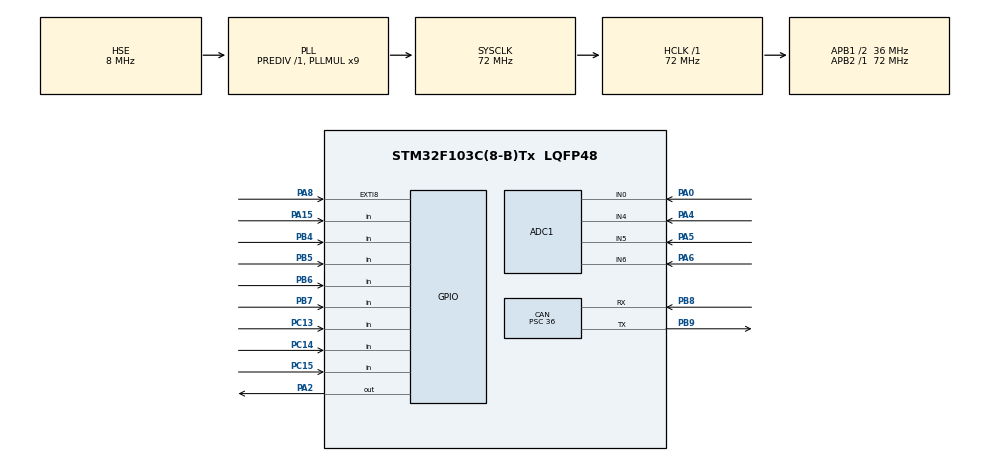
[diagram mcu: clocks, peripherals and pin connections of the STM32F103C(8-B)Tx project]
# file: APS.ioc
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ADC1.Channel-10\#ChannelRegularConversion=ADC_CHANNEL_4
ADC1.Channel-11\#ChannelRegularConversion=ADC_CHANNEL_5
ADC1.Channel-12\#ChannelRegularConversion=ADC_CHANNEL_6
ADC1.Channel-9\#ChannelRegularConversion=ADC_CHANNEL_0
ADC1.ContinuousConvMode=ENABLE
ADC1.DataAlign=ADC_DATAALIGN_RIGHT
ADC1.DiscontinuousConvMode=DISABLE
ADC1.EnableAnalogWatchDog=false
ADC1.EnableRegularConversion=ENABLE
ADC1.InjNumberOfConversion=0
ADC1.NbrOfConversion=4
ADC1.NbrOfConversionFlag=1
ADC1.Rank-10\#ChannelRegularConversion=2
ADC1.Rank-11\#ChannelRegularConversion=3
ADC1.Rank-12\#ChannelRegularConversion=4
ADC1.Rank-9\#ChannelRegularConversion=1
ADC1.SamplingTime-10\#ChannelRegularConversion=ADC_SAMPLETIME_1CYCLE_5
ADC1.SamplingTime-11\#ChannelRegularConversion=ADC_SAMPLETIME_1CYCLE_5
ADC1.SamplingTime-12\#ChannelRegularConversion=ADC_SAMPLETIME_1CYCLE_5
ADC1.SamplingTime-9\#ChannelRegularConversion=ADC_SAMPLETIME_1CYCLE_5
ADC1.ScanConvMode=ADC_SCAN_ENABLE
ADC1.master=1
CAN.BS1=CAN_BS1_13TQ
CAN.BS2=CAN_BS2_2TQ
CAN.CalculateTimeBit=16000
CAN.CalculateTimeQuantum=1000.0
CAN.Mode=CAN_MODE_NORMAL
CAN.NART=ENABLE
CAN.Prescaler=36
CAN.TXFP=ENABLE
Dma.ADC1.0.Direction=DMA_PERIPH_TO_MEMORY
Dma.ADC1.0.Instance=DMA1_Channel1
Dma.ADC1.0.MemDataAlignment=DMA_MDATAALIGN_HALFWORD
Dma.ADC1.0.MemInc=DMA_MINC_ENABLE
Dma.ADC1.0.Mode=DMA_CIRCULAR
Dma.ADC1.0.PeriphDataAlignment=DMA_PDATAALIGN_HALFWORD
Dma.ADC1.0.PeriphInc=DMA_PINC_DISABLE
Dma.ADC1.0.Priority=DMA_PRIORITY_LOW
Dma.Request0=ADC1
Mcu.Family=STM32F1
Mcu.Name=STM32F103C(8-B)Tx
Mcu.Package=LQFP48
NVIC.DMA1_Channel1_IRQn=true\:0\:0\:false\:false\:true\:false
NVIC.EXTI9_5_IRQn=true\:3\:0\:true\:false\:true\:true
NVIC.PriorityGroup=NVIC_PRIORITYGROUP_4
NVIC.TIM2_IRQn=true\:3\:0\:true\:false\:true\:true
NVIC.TIM3_IRQn=true\:1\:0\:true\:false\:true\:true
NVIC.USB_LP_CAN1_RX0_IRQn=true\:2\:0\:true\:false\:true\:true
PA0-WKUP.Signal=ADCx_IN0
PA13.Mode=Serial_Wire
PA13.Signal=SYS_JTMS-SWDIO
PA14.Mode=Serial_Wire
PA14.Signal=SYS_JTCK-SWCLK
PA15.GPIO_PuPd=GPIO_PULLDOWN
PA15.Signal=GPIO_Input
PA2.GPIO_Speed=GPIO_SPEED_FREQ_LOW
PA2.Signal=GPIO_Output
PA4.Signal=ADCx_IN4
PA5.Signal=ADCx_IN5
PA6.Signal=ADCx_IN6
PA8.GPIO_ModeDefaultEXTI=GPIO_MODE_IT_RISING_FALLING
PA8.Signal=GPXTI8
PB4.GPIO_PuPd=GPIO_PULLDOWN
PB4.Signal=GPIO_Input
PB5.GPIO_PuPd=GPIO_PULLDOWN
PB5.Signal=GPIO_Input
PB6.GPIO_PuPd=GPIO_PULLDOWN
PB6.Signal=GPIO_Input
PB7.GPIO_PuPd=GPIO_PULLDOWN
PB7.Signal=GPIO_Input
PB8.Mode=Master
PB8.Signal=CAN_RX
PB9.Mode=Master
PB9.Signal=CAN_TX
PC13-TAMPER-RTC.GPIO_PuPd=GPIO_PULLDOWN
PC13-TAMPER-RTC.Signal=GPIO_Input
PC14-OSC32_IN.GPIO_PuPd=GPIO_PULLDOWN
PC14-OSC32_IN.Signal=GPIO_Input
PC15-OSC32_OUT.GPIO_PuPd=GPIO_PULLDOWN
PC15-OSC32_OUT.Signal=GPIO_Input
PD0-OSC_IN.Mode=HSE-External-Oscillator
PD0-OSC_IN.Signal=RCC_OSC_IN
PD1-OSC_OUT.Mode=HSE-External-Oscillator
PD1-OSC_OUT.Signal=RCC_OSC_OUT
ProjectManager.HeapSize=0x200
ProjectManager.StackSize=0x400
ProjectManager.TargetToolchain=SW4STM32
RCC.ADCPresc=RCC_ADCPCLK2_DIV6
RCC.AHBFreq_Value=72000000
RCC.APB1CLKDivider=RCC_HCLK_DIV2
RCC.APB1Freq_Value=36000000
RCC.APB1TimFreq_Value=72000000
RCC.APB2Freq_Value=72000000
RCC.APB2TimFreq_Value=72000000
RCC.HCLKFreq_Value=72000000
RCC.PLLMUL=RCC_PLL_MUL9
RCC.PLLSourceVirtual=RCC_PLLSOURCE_HSE
RCC.SYSCLKFreq_VALUE=72000000
RCC.SYSCLKSource=RCC_SYSCLKSOURCE_PLLCLK
RCC.USBFreq_Value=72000000
SH.ADCx_IN0.0=ADC1_IN0,IN0
SH.ADCx_IN4.0=ADC1_IN4,IN4
SH.ADCx_IN5.0=ADC1_IN5,IN5
SH.ADCx_IN6.0=ADC1_IN6,IN6
TIM2.Period=50000
TIM2.Prescaler=71
TIM2.TIM_MasterOutputTrigger=TIM_TRGO_UPDATE
TIM3.Period=999
TIM3.Prescaler=71
TIM3.TIM_MasterOutputTrigger=TIM_TRGO_UPDATE
VP_TIM2_VS_ClockSourceINT.Mode=Internal
VP_TIM3_VS_ClockSourceINT.Mode=Internal
board=AZS

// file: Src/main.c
/**
  ******************************************************************************
  * @file           : main.c
  * @brief          : Main program body
  ******************************************************************************
  ** This notice applies to any and all portions of this file
  * that are not between comment pairs USER CODE BEGIN and
  * USER CODE END. Other portions of this file, whether
  * inserted by the user or by software development tools
  * are owned by their respective copyright owners.
  *
  * COPYRIGHT(c) 2018 STMicroelectronics
  *
  * Redistribution and use in source and binary forms, with or without modification,
  * are permitted provided that the following conditions are met:
  *   1. Redistributions of source code must retain the above copyright notice,
  *      this list of conditions and the following disclaimer.
  *   2. Redistributions in binary form must reproduce the above copyright notice,
  *      this list of conditions and the following disclaimer in the documentation
  *      and/or other materials provided with the distribution.
  *   3. Neither the name of STMicroelectronics nor the names of its contributors
  *      may be used to endorse or promote products derived from this software
  *      without specific prior written permission.
  *
  * THIS SOFTWARE IS PROVIDED BY THE COPYRIGHT HOLDERS AND CONTRIBUTORS "AS IS"
  * AND ANY EXPRESS OR IMPLIED WARRANTIES, INCLUDING, BUT NOT LIMITED TO, THE
  * IMPLIED WARRANTIES OF MERCHANTABILITY AND FITNESS FOR A PARTICULAR PURPOSE ARE
  * DISCLAIMED. IN NO EVENT SHALL THE COPYRIGHT HOLDER OR CONTRIBUTORS BE LIABLE
  * FOR ANY DIRECT, INDIRECT, INCIDENTAL, SPECIAL, EXEMPLARY, OR CONSEQUENTIAL
  * DAMAGES (INCLUDING, BUT NOT LIMITED TO, PROCUREMENT OF SUBSTITUTE GOODS OR
  * SERVICES; LOSS OF USE, DATA, OR PROFITS; OR BUSINESS INTERRUPTION) HOWEVER
  * CAUSED AND ON ANY THEORY OF LIABILITY, WHETHER IN CONTRACT, STRICT LIABILITY,
  * OR TORT (INCLUDING NEGLIGENCE OR OTHERWISE) ARISING IN ANY WAY OUT OF THE USE
  * OF THIS SOFTWARE, EVEN IF ADVISED OF THE POSSIBILITY OF SUCH DAMAGE.
  *
  ******************************************************************************
  */
#include "main.h"
#include "stm32f1xx_hal.h"

/* USER CODE BEGIN Includes */
#include "filter.h"

/* USER CODE END Includes */

ADC_HandleTypeDef hadc1;
DMA_HandleTypeDef hdma_adc1;

CAN_HandleTypeDef hcan;

TIM_HandleTypeDef htim2;
TIM_HandleTypeDef htim3;

/* USER CODE BEGIN PV */
/* Private variables ---------------------------------------------------------*/
#define 			DEVICE_ID_DEF				0x0001
#define 			REMOTE_DEVICE_ID_DEF		0x0100
#define 			CAN_TIME_TX_DATA			1000							// ms
#define 			ADC_NUM_QUANT				4096
#define				ADC_REF_V					3.3								// Volt
#define				ADC_IN_R1					100000.0						// Ohm
#define				ADC_IN_R2					10000.0							// Ohm
#define				ADC_OUT_R1					100000.0						// Ohm
#define				ADC_OUT_R2					10000.0							// Ohm
#define				LIM_IN_V_DOWN_DEF			9.0								// Volt
#define				LIM_IN_V_UP_DEF				18.0							// Volt
#define				LIM_OUT_V_DOWN_DEF			9.0								// Volt
#define				LIM_OUT_V_UP_DEF			18.0							// Volt
#define				SENS_I_VCC					3.3								// Volt
#define				SENS_I_SLOPE				26.4e-3							// Volt per 1 Ampere
#define				SENS_I_LIM_DEF				1.0								// Ampere
#define				SENS_I_MAX_CURRENT			50.0							// Ampere, see datasheet
#define				SENS_TEMP_SLOPE				6.25e-3							// Volt per 1 degree
#define				SWITCH_QUANT				0.25							// Ampere

#define				ADC_IN_PRESCALER			(float)ADC_IN_R2 / (float)(ADC_IN_R1 + ADC_IN_R2)
#define				ADC_OUT_PRESCALER			(float)ADC_OUT_R2 / (float)(ADC_OUT_R1 + ADC_OUT_R2)
#define 			SENS_I_LIM_DEF_A			((float)SENS_I_LIM_DEF * (float)SENS_I_SLOPE)	// Ampere
#define				SENS_I_MAX_CURRENT_A		((float)SENS_I_MAX_CURRENT * (float)SENS_I_SLOPE)	// Ampere
#define				SENS_I_VOUT_Q				(float)SENS_I_VCC / 2.0
#define 			GATE_ENABLE					1
#define 			GATE_DISABLE				0
#define				ADC_SAMPLE_RATE				10000

uint32_t 			Device_ID = 				DEVICE_ID_DEF;					// Set device ID  (CAN bus)
uint32_t 			Remote_device_ID =			REMOTE_DEVICE_ID_DEF;			// Set remote device ID (CAN bus)
uint8_t				Gate_state =				GATE_DISABLE;
float 				Lim_in_V_down =				((float)ADC_IN_PRESCALER * (float)LIM_IN_V_DOWN_DEF);
float				Lim_in_V_up =				((float)ADC_IN_PRESCALER * (float)LIM_IN_V_UP_DEF);
float				Lim_out_V_down =			((float)ADC_OUT_PRESCALER * (float)LIM_OUT_V_DOWN_DEF);
float				Lim_out_V_up =				((float)ADC_OUT_PRESCALER * (float)LIM_OUT_V_UP_DEF);
float				Lim_I_up =					SENS_I_VOUT_Q + SENS_I_LIM_DEF_A;		// Forward current limit
float				Lim_I_down =				SENS_I_VOUT_Q - SENS_I_LIM_DEF_A;		// Backward current limit
CanTxMsgTypeDef 	CAN_Tx_Buffer;
CanRxMsgTypeDef 	CAN_Rx_Buffer;
uint16_t 			ADC_Data[4];
float	 			ADC_Data_f[4];

/* USER CODE END PV */

void SystemClock_Config(void);
static void MX_GPIO_Init(void);
static void MX_DMA_Init(void);
static void MX_CAN_Init(void);
static void MX_ADC1_Init(void);
static void MX_TIM2_Init(void);
static void MX_TIM3_Init(void);

/* USER CODE BEGIN PFP */
/* Private function prototypes -----------------------------------------------*/
void CAN_filter_set(void);
void CAN_ADCdata_send(uint16_t *ADC_array, uint8_t array_size);
void Gate_set(uint8_t state);
void Gate_toggle(void);
void HAL_GPIO_EXTI_Callback(uint16_t GPIO_Pin);
uint8_t Switch_read(void);
//void HAL_ADCEx_InjectedConvCpltCallback(ADC_HandleTypeDef* hadc1);
void HAL_CAN_RxCpltCallback(CAN_HandleTypeDef* CanHandle);
void Set_current_lim(void);
void ADC_check(uint16_t *ADC_Data, float *ADC_Data_f);
void Sample_rate_set(uint16_t sample_rate);
void CAN_ADCdata_send_f(float *ADC_array_f, uint8_t array_size);

/* USER CODE END PFP */

int main(void)
{

  /* MCU Configuration----------------------------------------------------------*/

  /* Reset of all peripherals, Initializes the Flash interface and the Systick. */
  HAL_Init();

  /* Configure the system clock */
  SystemClock_Config();

  /* Initialize all configured peripherals */
  MX_GPIO_Init();
  MX_DMA_Init();
  MX_CAN_Init();
  MX_ADC1_Init();
  MX_TIM2_Init();
  MX_TIM3_Init();
  /* USER CODE BEGIN 2 */

	Sample_rate_set(ADC_SAMPLE_RATE);

  Set_current_lim();
  CAN_filter_set();
  hcan.pRxMsg = &CAN_Rx_Buffer;
  HAL_CAN_Receive_IT(&hcan, CAN_FIFO0);
	HAL_NVIC_DisableIRQ(DMA1_Channel1_IRQn);
  HAL_ADC_Start_DMA(&hadc1,(uint32_t*) &ADC_Data, 4);
  HAL_TIM_Base_Start_IT(&htim3);

	//Gate_set(GATE_ENABLE);
  //HAL_ADCEx_InjectedStart_IT(&hadc1);
  /* USER CODE END 2 */

  /* Infinite loop */
  while (1)
  {

  /* USER CODE BEGIN 3 */
	  //if (ADC_conversion_status == ADC_CONVERSION_COMPLETE)
	  //{
		  CAN_ADCdata_send_f(ADC_Data_f, sizeof(ADC_Data)/sizeof(uint16_t));
		  //ADC_conversion_status = ADC_CONVERSION_EXPECT;
	  //}
	  HAL_Delay(CAN_TIME_TX_DATA);
		//Gate_set(GATE_ENABLE);
		//HAL_GPIO_TogglePin(GPIOB, GPIO_PIN_1);
		//HAL_Delay(10);
  }
  /* USER CODE END 3 */

}

void SystemClock_Config(void)
{

  RCC_OscInitTypeDef RCC_OscInitStruct;
  RCC_ClkInitTypeDef RCC_ClkInitStruct;
  RCC_PeriphCLKInitTypeDef PeriphClkInit;

    /**Initializes the CPU, AHB and APB busses clocks
    */
  RCC_OscInitStruct.OscillatorType = RCC_OSCILLATORTYPE_HSE;
  RCC_OscInitStruct.HSEState = RCC_HSE_ON;
  RCC_OscInitStruct.HSEPredivValue = RCC_HSE_PREDIV_DIV1;
  RCC_OscInitStruct.HSIState = RCC_HSI_ON;
  RCC_OscInitStruct.PLL.PLLState = RCC_PLL_ON;
  RCC_OscInitStruct.PLL.PLLSource = RCC_PLLSOURCE_HSE;
  RCC_OscInitStruct.PLL.PLLMUL = RCC_PLL_MUL9;
  if (HAL_RCC_OscConfig(&RCC_OscInitStruct) != HAL_OK)
  {
    _Error_Handler(__FILE__, __LINE__);
  }

    /**Initializes the CPU, AHB and APB busses clocks
    */
  RCC_ClkInitStruct.ClockType = RCC_CLOCKTYPE_HCLK|RCC_CLOCKTYPE_SYSCLK
                              |RCC_CLOCKTYPE_PCLK1|RCC_CLOCKTYPE_PCLK2;
  RCC_ClkInitStruct.SYSCLKSource = RCC_SYSCLKSOURCE_PLLCLK;
  RCC_ClkInitStruct.AHBCLKDivider = RCC_SYSCLK_DIV1;
  RCC_ClkInitStruct.APB1CLKDivider = RCC_HCLK_DIV2;
  RCC_ClkInitStruct.APB2CLKDivider = RCC_HCLK_DIV1;

  if (HAL_RCC_ClockConfig(&RCC_ClkInitStruct, FLASH_LATENCY_2) != HAL_OK)
  {
    _Error_Handler(__FILE__, __LINE__);
  }

  PeriphClkInit.PeriphClockSelection = RCC_PERIPHCLK_ADC;
  PeriphClkInit.AdcClockSelection = RCC_ADCPCLK2_DIV6;
  if (HAL_RCCEx_PeriphCLKConfig(&PeriphClkInit) != HAL_OK)
  {
    _Error_Handler(__FILE__, __LINE__);
  }

    /**Configure the Systick interrupt time
    */
  HAL_SYSTICK_Config(HAL_RCC_GetHCLKFreq()/1000);

    /**Configure the Systick
    */
  HAL_SYSTICK_CLKSourceConfig(SYSTICK_CLKSOURCE_HCLK);

  /* SysTick_IRQn interrupt configuration */
  HAL_NVIC_SetPriority(SysTick_IRQn, 0, 0);
}

/* ADC1 init function */
static void MX_ADC1_Init(void)
{

  ADC_ChannelConfTypeDef sConfig;

    /**Common config
    */
  hadc1.Instance = ADC1;
  hadc1.Init.ScanConvMode = ADC_SCAN_ENABLE;
  hadc1.Init.ContinuousConvMode = ENABLE;
  hadc1.Init.DiscontinuousConvMode = DISABLE;
  hadc1.Init.ExternalTrigConv = ADC_SOFTWARE_START;
  hadc1.Init.DataAlign = ADC_DATAALIGN_RIGHT;
  hadc1.Init.NbrOfConversion = 4;
  if (HAL_ADC_Init(&hadc1) != HAL_OK)
  {
    _Error_Handler(__FILE__, __LINE__);
  }

    /**Configure Regular Channel
    */
  sConfig.Channel = ADC_CHANNEL_0;
  sConfig.Rank = ADC_REGULAR_RANK_1;
  sConfig.SamplingTime = ADC_SAMPLETIME_1CYCLE_5;
  if (HAL_ADC_ConfigChannel(&hadc1, &sConfig) != HAL_OK)
  {
    _Error_Handler(__FILE__, __LINE__);
  }

    /**Configure Regular Channel
    */
  sConfig.Channel = ADC_CHANNEL_4;
  sConfig.Rank = ADC_REGULAR_RANK_2;
  if (HAL_ADC_ConfigChannel(&hadc1, &sConfig) != HAL_OK)
  {
    _Error_Handler(__FILE__, __LINE__);
  }

    /**Configure Regular Channel
    */
  sConfig.Channel = ADC_CHANNEL_5;
  sConfig.Rank = ADC_REGULAR_RANK_3;
  if (HAL_ADC_ConfigChannel(&hadc1, &sConfig) != HAL_OK)
  {
    _Error_Handler(__FILE__, __LINE__);
  }

    /**Configure Regular Channel
    */
  sConfig.Channel = ADC_CHANNEL_6;
  sConfig.Rank = ADC_REGULAR_RANK_4;
  if (HAL_ADC_ConfigChannel(&hadc1, &sConfig) != HAL_OK)
  {
    _Error_Handler(__FILE__, __LINE__);
  }

}

/* CAN init function */
static void MX_CAN_Init(void)
{

  hcan.Instance = CAN1;
  hcan.Init.Prescaler = 36;
  hcan.Init.Mode = CAN_MODE_NORMAL;
  hcan.Init.SJW = CAN_SJW_1TQ;
  hcan.Init.BS1 = CAN_BS1_13TQ;
  hcan.Init.BS2 = CAN_BS2_2TQ;
  hcan.Init.TTCM = DISABLE;
  hcan.Init.ABOM = DISABLE;
  hcan.Init.AWUM = DISABLE;
  hcan.Init.NART = ENABLE;
  hcan.Init.RFLM = DISABLE;
  hcan.Init.TXFP = ENABLE;
  if (HAL_CAN_Init(&hcan) != HAL_OK)
  {
    _Error_Handler(__FILE__, __LINE__);
  }

}

/* TIM2 init function */
static void MX_TIM2_Init(void)
{

  TIM_ClockConfigTypeDef sClockSourceConfig;
  TIM_MasterConfigTypeDef sMasterConfig;

  htim2.Instance = TIM2;
  htim2.Init.Prescaler = 71;
  htim2.Init.CounterMode = TIM_COUNTERMODE_UP;
  htim2.Init.Period = 50000;
  htim2.Init.ClockDivision = TIM_CLOCKDIVISION_DIV1;
  htim2.Init.AutoReloadPreload = TIM_AUTORELOAD_PRELOAD_DISABLE;
  if (HAL_TIM_Base_Init(&htim2) != HAL_OK)
  {
    _Error_Handler(__FILE__, __LINE__);
  }

  sClockSourceConfig.ClockSource = TIM_CLOCKSOURCE_INTERNAL;
  if (HAL_TIM_ConfigClockSource(&htim2, &sClockSourceConfig) != HAL_OK)
  {
    _Error_Handler(__FILE__, __LINE__);
  }

  sMasterConfig.MasterOutputTrigger = TIM_TRGO_UPDATE;
  sMasterConfig.MasterSlaveMode = TIM_MASTERSLAVEMODE_DISABLE;
  if (HAL_TIMEx_MasterConfigSynchronization(&htim2, &sMasterConfig) != HAL_OK)
  {
    _Error_Handler(__FILE__, __LINE__);
  }

}

/* TIM3 init function */
static void MX_TIM3_Init(void)
{

  TIM_ClockConfigTypeDef sClockSourceConfig;
  TIM_MasterConfigTypeDef sMasterConfig;

  htim3.Instance = TIM3;
  htim3.Init.Prescaler = 71;
  htim3.Init.CounterMode = TIM_COUNTERMODE_UP;
  htim3.Init.Period = 999;
  htim3.Init.ClockDivision = TIM_CLOCKDIVISION_DIV1;
  htim3.Init.AutoReloadPreload = TIM_AUTORELOAD_PRELOAD_DISABLE;
  if (HAL_TIM_Base_Init(&htim3) != HAL_OK)
  {
    _Error_Handler(__FILE__, __LINE__);
  }

  sClockSourceConfig.ClockSource = TIM_CLOCKSOURCE_INTERNAL;
  if (HAL_TIM_ConfigClockSource(&htim3, &sClockSourceConfig) != HAL_OK)
  {
    _Error_Handler(__FILE__, __LINE__);
  }

  sMasterConfig.MasterOutputTrigger = TIM_TRGO_UPDATE;
  sMasterConfig.MasterSlaveMode = TIM_MASTERSLAVEMODE_DISABLE;
  if (HAL_TIMEx_MasterConfigSynchronization(&htim3, &sMasterConfig) != HAL_OK)
  {
    _Error_Handler(__FILE__, __LINE__);
  }

}

static void MX_DMA_Init(void)
{
  /* DMA controller clock enable */
  __HAL_RCC_DMA1_CLK_ENABLE();

  /* DMA interrupt init */
  /* DMA1_Channel1_IRQn interrupt configuration */
  HAL_NVIC_SetPriority(DMA1_Channel1_IRQn, 0, 0);
  HAL_NVIC_EnableIRQ(DMA1_Channel1_IRQn);

}

/** Configure pins as
        * Analog
        * Input
        * Output
        * EVENT_OUT
        * EXTI
*/
static void MX_GPIO_Init(void)
{

  GPIO_InitTypeDef GPIO_InitStruct;

  /* GPIO Ports Clock Enable */
  __HAL_RCC_GPIOC_CLK_ENABLE();
  __HAL_RCC_GPIOD_CLK_ENABLE();
  __HAL_RCC_GPIOA_CLK_ENABLE();
  __HAL_RCC_GPIOB_CLK_ENABLE();

  /*Configure GPIO pin Output Level */
  HAL_GPIO_WritePin(GPIOA, GPIO_PIN_2, GPIO_PIN_RESET);

  /*Configure GPIO pins : PC13 PC14 PC15 */
  GPIO_InitStruct.Pin = GPIO_PIN_13|GPIO_PIN_14|GPIO_PIN_15;
  GPIO_InitStruct.Mode = GPIO_MODE_INPUT;
  GPIO_InitStruct.Pull = GPIO_PULLDOWN;
  HAL_GPIO_Init(GPIOC, &GPIO_InitStruct);

  /*Configure GPIO pin : PA2 */
  GPIO_InitStruct.Pin = GPIO_PIN_2;
  GPIO_InitStruct.Mode = GPIO_MODE_OUTPUT_PP;
  GPIO_InitStruct.Pull = GPIO_NOPULL;
  GPIO_InitStruct.Speed = GPIO_SPEED_FREQ_LOW;
  HAL_GPIO_Init(GPIOA, &GPIO_InitStruct);

  /*Configure GPIO pin : PA8 */
  GPIO_InitStruct.Pin = GPIO_PIN_8;
  GPIO_InitStruct.Mode = GPIO_MODE_IT_RISING_FALLING;
  GPIO_InitStruct.Pull = GPIO_NOPULL;
  HAL_GPIO_Init(GPIOA, &GPIO_InitStruct);

  /*Configure GPIO pin : PA15 */
  GPIO_InitStruct.Pin = GPIO_PIN_15;
  GPIO_InitStruct.Mode = GPIO_MODE_INPUT;
  GPIO_InitStruct.Pull = GPIO_PULLDOWN;
  HAL_GPIO_Init(GPIOA, &GPIO_InitStruct);

  /*Configure GPIO pins : PB4 PB5 PB6 PB7 */
  GPIO_InitStruct.Pin = GPIO_PIN_4|GPIO_PIN_5|GPIO_PIN_6|GPIO_PIN_7;
  GPIO_InitStruct.Mode = GPIO_MODE_INPUT;
  GPIO_InitStruct.Pull = GPIO_PULLDOWN;
  HAL_GPIO_Init(GPIOB, &GPIO_InitStruct);

  /* EXTI interrupt init*/
  HAL_NVIC_SetPriority(EXTI9_5_IRQn, 3, 0);
  HAL_NVIC_EnableIRQ(EXTI9_5_IRQn);

}

/* USER CODE BEGIN 4 */
void CAN_filter_set(void)
{
	CAN_FilterConfTypeDef CAN_filter_config;
	CAN_filter_config.FilterNumber = 			1;  							// 0 - not filtered data
	CAN_filter_config.FilterMode = 				CAN_FILTERMODE_IDLIST;
	CAN_filter_config.FilterScale = 			CAN_FILTERSCALE_16BIT;
	CAN_filter_config.FilterIdHigh = 			Device_ID << 5;
	CAN_filter_config.FilterIdLow = 			0x0;							// not use, reserved
	CAN_filter_config.FilterMaskIdHigh = 		0x0;							//
	CAN_filter_config.FilterMaskIdLow = 		0x0;							//
	CAN_filter_config.FilterFIFOAssignment = 	CAN_FILTER_FIFO0;
	CAN_filter_config.FilterActivation = 		ENABLE;
	HAL_CAN_ConfigFilter(&hcan, &CAN_filter_config);
}

void CAN_ADCdata_send(uint16_t *ADC_array, uint8_t array_size)
{
	uint8_t data_size = array_size * 2;
	uint8_t buff[data_size];

	uint8_t j = 0;
	for (int i = 0; i < data_size; i += 2)
	{
		buff[i] = (uint8_t)(ADC_array[j]);
		buff[i + 1] = (uint8_t)(ADC_array[j] >> 8);
		j++;
	}

	CAN_Tx_Buffer.RTR = 	CAN_RTR_DATA;						// Data frame
	CAN_Tx_Buffer.IDE = 	CAN_ID_STD;							// ID 11 bit
	CAN_Tx_Buffer.DLC = 	data_size;							// Data length
	CAN_Tx_Buffer.StdId = 	Remote_device_ID;

	for (int i = 0; i < data_size; i++)
	{
		CAN_Tx_Buffer.Data[i] = buff[i];
	}

	hcan.pTxMsg = &CAN_Tx_Buffer;
	HAL_CAN_Transmit_IT(&hcan);
}

void CAN_ADCdata_send_f(float *ADC_array_f, uint8_t array_size)
{
	volatile uint16_t ADC_array[array_size];
	uint8_t data_size = array_size * 2;
	uint8_t buff[data_size];

	for (int i = 0; i < data_size; i++)
	{
		ADC_array[i] = (uint16_t)(ADC_array_f[i] / (float)ADC_REF_V * (float)ADC_NUM_QUANT);
	}

	uint8_t j = 0;
	for (int i = 0; i < data_size; i += 2)
	{
		buff[i] = (uint8_t)(ADC_array[j]);
		buff[i + 1] = (uint8_t)(ADC_array[j] >> 8);
		j++;
	}

	CAN_Tx_Buffer.RTR = 	CAN_RTR_DATA;						// Data frame
	CAN_Tx_Buffer.IDE = 	CAN_ID_STD;							// ID 11 bit
	CAN_Tx_Buffer.DLC = 	data_size;							// Data length
	CAN_Tx_Buffer.StdId = 	Remote_device_ID;

	for (int i = 0; i < data_size; i++)
	{
		CAN_Tx_Buffer.Data[i] = buff[i];
	}

	hcan.pTxMsg = &CAN_Tx_Buffer;
	HAL_CAN_Transmit_IT(&hcan);
}

void HAL_CAN_RxCpltCallback(CAN_HandleTypeDef* CanHandle)
{
	if (CanHandle->pRxMsg->Data[0] == GATE_ENABLE)
	{
		Gate_set(GATE_ENABLE);
	} else if (CanHandle->pRxMsg->Data[0] == GATE_DISABLE)
		{
			Gate_set(GATE_DISABLE);
		}

	for(int i = 0; i < 8; i++)
	{
		CanHandle->pRxMsg->Data[i] = 0;
	}

	HAL_CAN_Receive_IT(CanHandle, CAN_FIFO0);
}

void Gate_set(uint8_t state)
{
	if (state == GATE_ENABLE)
	{
		HAL_GPIO_WritePin(GPIOA, GPIO_PIN_2, GPIO_PIN_SET);
		Gate_state = GATE_ENABLE;
	} else if (state == GATE_DISABLE)
		{
			HAL_GPIO_WritePin(GPIOA, GPIO_PIN_2, GPIO_PIN_RESET);
			Gate_state = GATE_DISABLE;
		}
}

void Gate_toggle(void)
{
	if (Gate_state == GATE_ENABLE)
	{
		HAL_GPIO_WritePin(GPIOA, GPIO_PIN_2, GPIO_PIN_RESET);
		Gate_state = GATE_DISABLE;
	} else if (Gate_state == GATE_DISABLE)
		{
			HAL_GPIO_WritePin(GPIOA, GPIO_PIN_2, GPIO_PIN_SET);
			Gate_state = GATE_ENABLE;
		}
}

void HAL_GPIO_EXTI_Callback(uint16_t GPIO_Pin)
{
	if (GPIO_Pin == GPIO_PIN_8)										// GPIOA PA8 Button
	{
		HAL_GPIO_TogglePin(GPIOB, GPIO_PIN_1);
		if (!(htim2.Instance->DIER & TIM_DIER_UIE))					// Protection, if TIM interrupt enable wont used HAL_TIM_Base_Start_IT
		{
			HAL_TIM_Base_Start_IT(&htim2);							// Enable TIM 50 ms, for eliminate the effect of "bounce contacts"
		}
	}
}

uint8_t Switch_read(void)
{
	uint8_t value = 0;
	GPIO_InitTypeDef GPIO_InitStruct;

	// 	-----  	GPIO enable PULL UP -----
	// Default GPIO initialization as PULL DOWN because switch has not current limited resistors
	// GPIO enable in PULL UP mode only in measurement time
	GPIO_InitStruct.Pin = GPIO_PIN_15;
	GPIO_InitStruct.Mode = GPIO_MODE_INPUT;
	GPIO_InitStruct.Pull = GPIO_PULLUP;
	HAL_GPIO_Init(GPIOA, &GPIO_InitStruct);

	GPIO_InitStruct.Pin = GPIO_PIN_4|GPIO_PIN_5|GPIO_PIN_6|GPIO_PIN_7;
	GPIO_InitStruct.Mode = GPIO_MODE_INPUT;
	GPIO_InitStruct.Pull = GPIO_PULLUP;
	HAL_GPIO_Init(GPIOB, &GPIO_InitStruct);

	GPIO_InitStruct.Pin = GPIO_PIN_13|GPIO_PIN_14|GPIO_PIN_15;
	GPIO_InitStruct.Mode = GPIO_MODE_INPUT;
	GPIO_InitStruct.Pull = GPIO_PULLUP;
	HAL_GPIO_Init(GPIOC, &GPIO_InitStruct);
	// ----------------------------------------

	HAL_Delay(50);

	value  = (!HAL_GPIO_ReadPin(GPIOA, GPIO_PIN_15) & 0x1)	<< 0;
	value |= (!HAL_GPIO_ReadPin(GPIOB, GPIO_PIN_4)  & 0x1) 	<< 1;
	value |= (!HAL_GPIO_ReadPin(GPIOB, GPIO_PIN_5)  & 0x1) 	<< 2;
	value |= (!HAL_GPIO_ReadPin(GPIOB, GPIO_PIN_6)  & 0x1) 	<< 3;
	value |= (!HAL_GPIO_ReadPin(GPIOB, GPIO_PIN_7)  & 0x1)  << 4;
	value |= (!HAL_GPIO_ReadPin(GPIOC, GPIO_PIN_13) & 0x1)  << 5;
	value |= (!HAL_GPIO_ReadPin(GPIOC, GPIO_PIN_14) & 0x1)  << 6;
	value |= (!HAL_GPIO_ReadPin(GPIOC, GPIO_PIN_15) & 0x1)  << 7;

	// 	-----  	GPIO enable PULL DOWN -----
	GPIO_InitStruct.Pin = GPIO_PIN_15;
	GPIO_InitStruct.Mode = GPIO_MODE_INPUT;
	GPIO_InitStruct.Pull = GPIO_PULLDOWN;
	HAL_GPIO_Init(GPIOA, &GPIO_InitStruct);

	GPIO_InitStruct.Pin = GPIO_PIN_4|GPIO_PIN_5|GPIO_PIN_6|GPIO_PIN_7;
	GPIO_InitStruct.Mode = GPIO_MODE_INPUT;
	GPIO_InitStruct.Pull = GPIO_PULLDOWN;
	HAL_GPIO_Init(GPIOB, &GPIO_InitStruct);

	GPIO_InitStruct.Pin = GPIO_PIN_13|GPIO_PIN_14|GPIO_PIN_15;
	GPIO_InitStruct.Mode = GPIO_MODE_INPUT;
	GPIO_InitStruct.Pull = GPIO_PULLDOWN;
	HAL_GPIO_Init(GPIOC, &GPIO_InitStruct);
	// ----------------------------------------

	return value;
}

void Set_current_lim(void)
{
	float lim = 0;
	float sw_state = 0;

	sw_state = Switch_read();
	lim = sw_state * (float)SWITCH_QUANT;
	if (lim > SENS_I_MAX_CURRENT)
		{
			lim = SENS_I_MAX_CURRENT;
		}
	lim *= (float)SENS_I_SLOPE;
	Lim_I_up = SENS_I_VOUT_Q + lim;
	Lim_I_down = SENS_I_VOUT_Q - lim;
}

void ADC_check(uint16_t *ADC_Data, float *ADC_Data_f)
{
	ADC_Data_f[0] = dFilter_1(ADC_Data[0] / (float)ADC_NUM_QUANT * (float)ADC_REF_V);
	ADC_Data_f[1] = dFilter_2(ADC_Data[1] / (float)ADC_NUM_QUANT * (float)ADC_REF_V);
	ADC_Data_f[2] = dFilter_3(ADC_Data[2] / (float)ADC_NUM_QUANT * (float)ADC_REF_V);
	ADC_Data_f[3] = ADC_Data[3] / (float)ADC_NUM_QUANT * (float)ADC_REF_V;

	if (((ADC_Data_f[0] < Lim_out_V_down) || (ADC_Data_f[0] > Lim_out_V_up)) && (Gate_state != GATE_DISABLE))
	{
				Gate_set(GATE_DISABLE);
	}
	if (((ADC_Data_f[1] < Lim_in_V_down) || (ADC_Data_f[1] > Lim_in_V_up)) && (Gate_state != GATE_DISABLE))
	{
				Gate_set(GATE_DISABLE);
	}
	if (((ADC_Data_f[2] < Lim_I_down) || (ADC_Data_f[2] > Lim_I_up)) && (Gate_state != GATE_DISABLE))
	{
				Gate_set(GATE_DISABLE);
	}
}

void Sample_rate_set(uint16_t sample_rate)
{
	TIM_ClockConfigTypeDef sClockSourceConfig;
  TIM_MasterConfigTypeDef sMasterConfig;

  HAL_TIM_Base_DeInit(&htim3);

	htim3.Instance = TIM3;
  htim3.Init.Prescaler = 71;
  htim3.Init.CounterMode = TIM_COUNTERMODE_UP;

	//-----------------
	uint32_t clock = HAL_RCC_GetPCLK1Freq() * 2; // TIM3 clock = PCLK1 * 2  // MHz

	uint32_t prescaler_freq = clock /(htim3.Init.Prescaler + 1);  // MHz

	uint32_t period = (prescaler_freq/sample_rate) - 1;			// us

	htim3.Init.Period = period;
	//-----------------

  htim3.Init.ClockDivision = TIM_CLOCKDIVISION_DIV1;
  htim3.Init.AutoReloadPreload = TIM_AUTORELOAD_PRELOAD_DISABLE;
  if (HAL_TIM_Base_Init(&htim3) != HAL_OK)
  {
    _Error_Handler(__FILE__, __LINE__);
  }

  sClockSourceConfig.ClockSource = TIM_CLOCKSOURCE_INTERNAL;
  if (HAL_TIM_ConfigClockSource(&htim3, &sClockSourceConfig) != HAL_OK)
  {
    _Error_Handler(__FILE__, __LINE__);
  }

  sMasterConfig.MasterOutputTrigger = TIM_TRGO_UPDATE;
  sMasterConfig.MasterSlaveMode = TIM_MASTERSLAVEMODE_DISABLE;
  if (HAL_TIMEx_MasterConfigSynchronization(&htim3, &sMasterConfig) != HAL_OK)
  {
    _Error_Handler(__FILE__, __LINE__);
  }
}

/* USER CODE END 4 */

void _Error_Handler(char *file, int line)
{
  while(1)
  {
  }
}

/************************ (C) COPYRIGHT STMicroelectronics *****END OF FILE****/
